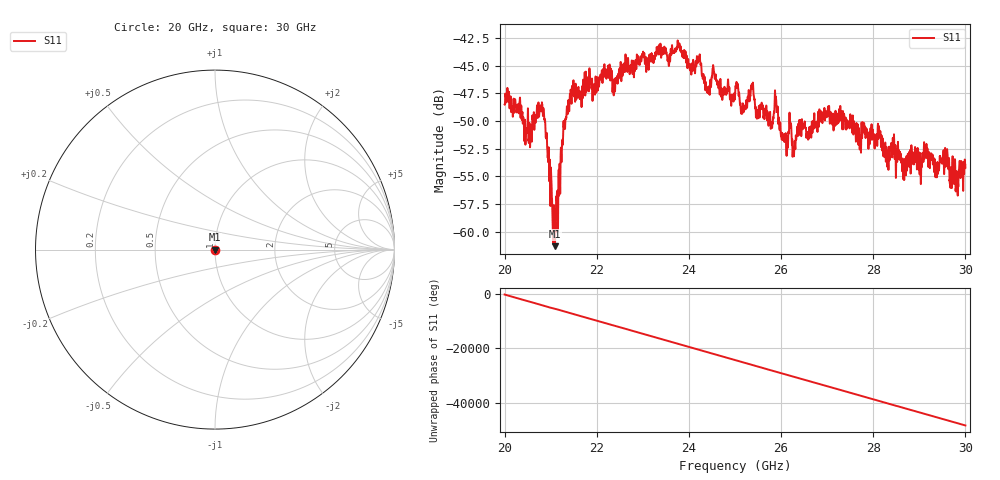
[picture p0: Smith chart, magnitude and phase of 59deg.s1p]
#  HZ  S  RI  R  50.00
! Rohde & Schwarz ZVA40 4Ports - Version 3.90 - 1145.1110k42 SN: 100403
! Date: 2023-10-03 12:05:14
! Measurement: S12
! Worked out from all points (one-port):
!   5001 points, 20 GHz to 30 GHz, reference 50 ohm
!   lowest |S11| = -61.3 dB at 21.09 GHz (marker M1), VSWR 1.00, Z = 50.1 + j0.0171 ohm
!   |S11| at or under -10 dB: start of sweep to end of sweep
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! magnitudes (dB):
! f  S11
! 20 GHz  -48.5
! 20.34 GHz  -48.2
! 20.5 GHz  -49.0
! 20.81 GHz  -48.3
! 20.91 GHz  -51.1
! 21.06 GHz  -59.9
! 21.09 GHz  -61.3
! 21.25 GHz  -52.2
! 21.46 GHz  -47.3
! 22.5 GHz  -45.3
! 23.75 GHz  -43.1
! 24.01 GHz  -45.0
! 24.22 GHz  -44.5
! 24.4 GHz  -47.3
! 24.54 GHz  -45.5
! 25 GHz  -47.9
! 25.17 GHz  -48.5
! 25.38 GHz  -47.1
! 25.48 GHz  -49.1
! 25.77 GHz  -50.5
! 25.89 GHz  -47.8
! 26.04 GHz  -51.6
! 26.25 GHz  -53.2
! 26.99 GHz  -49.3
! 27.5 GHz  -49.6
! 28.75 GHz  -53.0
! 29.8 GHz  -55.2
! 30 GHz  -54.2
